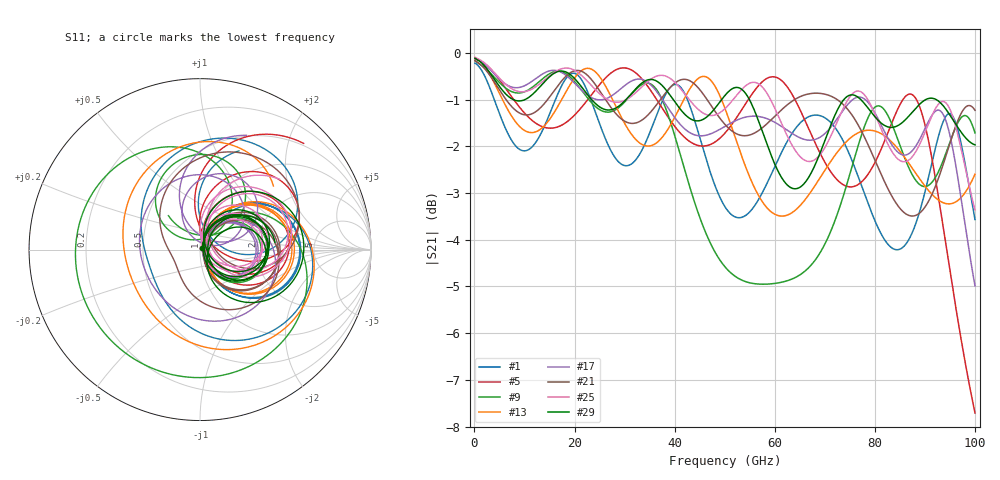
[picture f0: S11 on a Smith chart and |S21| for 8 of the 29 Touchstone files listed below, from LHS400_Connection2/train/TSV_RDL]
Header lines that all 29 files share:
! Touchstone file exported from HFSS 2026.1.0
!  Design:  TSV_RDL
! Variables:
! Terminal data exported
# GHz S MA R 50.000000
Fixed: h_ox = 20um, h_rdl = 5um, h_via = 3um, m_sub = 200um, s_tmrdl = 10um, w_sub = 500um
Also varied, not listed: x_tsv_center2, x_tsv_center3, x_tsv_center4, x_tsv_center5, x_tsv_center6
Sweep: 100 MHz to 100 GHz
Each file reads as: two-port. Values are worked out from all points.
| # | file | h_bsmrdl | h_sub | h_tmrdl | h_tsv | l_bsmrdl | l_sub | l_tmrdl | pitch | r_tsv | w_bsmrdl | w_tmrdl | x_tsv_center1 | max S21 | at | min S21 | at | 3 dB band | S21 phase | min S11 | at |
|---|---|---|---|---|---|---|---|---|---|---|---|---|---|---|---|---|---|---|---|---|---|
| 1 | dut80.s2p | 2.48um | 58.6um | 3.86um | 58.6um | 480.17um | 3022.14um | 274.28um | 43.61um | 10.81um | 11.52um | 16.65um | 282.605um | -0.22 dB | 100 MHz | -4.2 dB | 84.4 GHz | 100 MHz-49.6 GHz | -91 deg at 50.1 GHz | -31.2 dB | 100 MHz |
| 2 | dut83.s2p | 3.81um | 69.76um | 2.26um | 69.76um | 431.84um | 2640.61um | 209.16um | 54.79um | 12.88um | 14.92um | 21.23um | 219.775um | -0.14 dB | 100 MHz | -4.6 dB | 92.7 GHz | 100 MHz-56.8 GHz | -52 deg at 50.1 GHz | -34.5 dB | 100 MHz |
| 3 | dut85.s2p | 2.77um | 76.2um | 4.42um | 76.2um | 248.92um | 2221.24um | 241.8um | 57.46um | 7.69um | 20.96um | 14.8um | 249.2um | -0.10 dB | 100 MHz | -4.7 dB | 90.6 GHz | 100 MHz-83.2 GHz | 23 deg at 50.1 GHz | -36.3 dB | 100 MHz |
| 4 | dut86.s2p | 3.23um | 50.72um | 2.74um | 50.72um | 261.29um | 2346.88um | 262.74um | 52.59um | 14.51um | 25.76um | 11.59um | 268.535um | -0.14 dB | 100 MHz | -11.3 dB | 90.2 GHz | 100 MHz-73.9 GHz | 6 deg at 50.1 GHz | -34.7 dB | 100 MHz |
| 5 | dut87.s2p | 4.18um | 54.66um | 2.43um | 54.66um | 185.52um | 1829.39um | 194.32um | 48.37um | 12.03um | 21.08um | 10.77um | 199.705um | -0.12 dB | 100 MHz | -7.7 dB | 100 GHz | 100 MHz-92.7 GHz | 88 deg at 50.1 GHz | -36.1 dB | 100 MHz |
| 6 | dut88.s2p | 3.11um | 64.45um | 3.46um | 64.45um | 351.19um | 3457.02um | 476.87um | 51.24um | 7.36um | 15.21um | 16.78um | 485.26um | -0.18 dB | 100 MHz | -4.5 dB | 97.8 GHz | 100 MHz-77.9 GHz | -132 deg at 50.1 GHz | -31.8 dB | 100 MHz |
| 7 | dut89.s2p | 2.46um | 97.51um | 2.16um | 97.51um | 649.31um | 2919.57um | 115.37um | 58.26um | 9.34um | 14.28um | 22.44um | 126.59um | -0.21 dB | 100 MHz | -6.3 dB | 52.3 GHz | 100 MHz-43.2 GHz | -113 deg at 50.1 GHz | -31.2 dB | 19 GHz |
| 8 | dut91.s2p | 3.56um | 50.76um | 4.23um | 50.76um | 698.4um | 4432.97um | 444.79um | 47.86um | 9.62um | 27.05um | 25.82um | 457.7um | -0.13 dB | 100 MHz | -6.4 dB | 96.5 GHz | 100 MHz-89.4 GHz | 108 deg at 50.1 GHz | -34.4 dB | 14.5 GHz |
| 9 | dut93.s2p | 2.24um | 78.3um | 4.22um | 78.3um | 685.44um | 3182.24um | 150.58um | 40.83um | 13.89um | 21.26um | 19.94um | 160.55um | -0.16 dB | 100 MHz | -5.0 dB | 57.7 GHz | 100 MHz-43.8 GHz | -151 deg at 50.1 GHz | -35.9 dB | 17.2 GHz |
| 10 | dut95.s2p | 2.54um | 64.01um | 3.62um | 64.01um | 534.81um | 3245.35um | 282.15um | 48.64um | 5.15um | 13.88um | 23.56um | 293.93um | -0.20 dB | 100 MHz | -4.0 dB | 51.6 GHz | 100 MHz-46.8 GHz | -109 deg at 50.1 GHz | -31.4 dB | 100 MHz |
| 11 | dut96.s2p | 4.08um | 99.26um | 2.29um | 99.26um | 369.13um | 2545.4um | 230.08um | 44.96um | 14.34um | 16.42um | 22.81um | 241.485um | -0.12 dB | 100 MHz | -6.7 dB | 96.9 GHz | 100 MHz-71 GHz | -95 deg at 50.1 GHz | -38.0 dB | 18.9 GHz |
| 12 | dut97.s2p | 3.97um | 95.62um | 4.2um | 95.62um | 334.61um | 2389.2um | 210.92um | 56.74um | 9.41um | 28.33um | 18.9um | 220.37um | -0.08 dB | 100 MHz | -3.3 dB | 77.9 GHz | 100 MHz-75.4 GHz | -32 deg at 50.1 GHz | -38.2 dB | 100 MHz |
| 13 | dut98.s2p | 4.67um | 78.77um | 3.32um | 78.77um | 459.85um | 2504.32um | 154.68um | 50.44um | 10.62um | 15.38um | 19.97um | 164.665um | -0.10 dB | 100 MHz | -3.5 dB | 61.4 GHz | 100 MHz-57 GHz | -37 deg at 50.1 GHz | -36.5 dB | 100 MHz |
| 14 | dut99.s2p | 4.08um | 52.72um | 3.05um | 52.72um | 670.19um | 3524.04um | 250.4um | 53.4um | 5.54um | 18.8um | 18.49um | 259.645um | -0.16 dB | 100 MHz | -3.2 dB | 99.4 GHz | 100 MHz-98.7 GHz | -119 deg at 50.1 GHz | -32.7 dB | 100 MHz |
| 15 | dut100.s2p | 3.34um | 67.75um | 4.17um | 67.75um | 680.78um | 3863.95um | 325.68um | 52.32um | 7.97um | 22.11um | 17.52um | 334.44um | -0.15 dB | 100 MHz | -8.3 dB | 100 GHz | 100 MHz-83.7 GHz | 157 deg at 50.1 GHz | -32.7 dB | 100 MHz |
| 16 | dut101.s2p | 4.54um | 56.26um | 4.99um | 56.26um | 450.52um | 3024.39um | 295.67um | 58.53um | 5.69um | 19.36um | 10.69um | 301.015um | -0.13 dB | 100 MHz | -6.4 dB | 73.8 GHz | 100 MHz-65.4 GHz | -67 deg at 50.1 GHz | -33.5 dB | 100 MHz |
| 17 | dut103.s2p | 4.22um | 86.17um | 3.43um | 86.17um | 657.09um | 3535.52um | 248.86um | 45.69um | 11.79um | 26.56um | 29.71um | 263.715um | -0.10 dB | 100 MHz | -5.0 dB | 100 GHz | 100 MHz-97.1 GHz | -177 deg at 50.1 GHz | -37.2 dB | 16.4 GHz |
| 18 | dut105.s2p | 3.09um | 76.05um | 2.28um | 76.05um | 132.64um | 2603.44um | 417.18um | 59.65um | 12.97um | 21.56um | 24.04um | 429.2um | -0.12 dB | 100 MHz | -8.5 dB | 79.6 GHz | 100 MHz-67.4 GHz | -47 deg at 50.1 GHz | -35.9 dB | 21.4 GHz |
| 19 | dut106.s2p | 4.86um | 81.49um | 4.8um | 81.49um | 464.82um | 2450.59um | 138.42um | 48.09um | 13.15um | 16.87um | 17.28um | 147.06um | -0.08 dB | 100 MHz | -4.3 dB | 89.9 GHz | 100 MHz-56.8 GHz | -45 deg at 50.1 GHz | -38.0 dB | 100 MHz |
| 20 | dut108.s2p | 2.72um | 55.15um | 3.94um | 55.15um | 313.71um | 3619.49um | 548.38um | 49.47um | 6.94um | 14.33um | 13.95um | 555.355um | -0.21 dB | 100 MHz | -4.5 dB | 61.9 GHz | 100 MHz-57.3 GHz | -144 deg at 50.1 GHz | -30.8 dB | 100 MHz |
| 21 | dut109.s2p | 2.02um | 99.43um | 2.57um | 99.43um | 156.99um | 2643.78um | 413.36um | 48.12um | 6.96um | 10um | 29.79um | 428.255um | -0.16 dB | 100 MHz | -3.5 dB | 87.5 GHz | 100 MHz-83.9 GHz | -79 deg at 50.1 GHz | -34.2 dB | 20.9 GHz |
| 22 | dut110.s2p | 3.48um | 63.35um | 2.73um | 63.35um | 517.28um | 3558.75um | 371.9um | 41.5um | 6.13um | 20.58um | 19.19um | 381.495um | -0.17 dB | 100 MHz | -3.2 dB | 94.7 GHz | 100 MHz-100 GHz | -151 deg at 50.1 GHz | -32.8 dB | 17.2 GHz |
| 23 | dut111.s2p | 2.13um | 59.66um | 4.13um | 59.66um | 264.18um | 3810.46um | 625.83um | 54.84um | 6.76um | 22.49um | 15.71um | 633.685um | -0.18 dB | 100 MHz | -6.9 dB | 59.2 GHz | 100 MHz-51.8 GHz | 165 deg at 50.1 GHz | -31.3 dB | 100 MHz |
| 24 | dut112.s2p | 2.48um | 65.06um | 2.33um | 65.06um | 457.56um | 3068.21um | 284.23um | 46.81um | 14.01um | 23.17um | 29.7um | 299.08um | -0.14 dB | 100 MHz | -3.9 dB | 100 GHz | 100 MHz-78 GHz | -100 deg at 50.1 GHz | -36.4 dB | 19.3 GHz |
| 25 | dut115.s2p | 3.66um | 78.63um | 3.93um | 78.63um | 255.04um | 2908.98um | 400.46um | 47.98um | 14.26um | 21.21um | 26.13um | 413.525um | -0.09 dB | 100 MHz | -3.4 dB | 100 GHz | 100 MHz-99.3 GHz | -93 deg at 50.1 GHz | -38.4 dB | 18.8 GHz |
| 26 | dut116.s2p | 3.19um | 59.42um | 2.45um | 59.42um | 164.7um | 3769.38um | 689.03um | 49.9um | 7.75um | 14.58um | 25.14um | 701.6um | -0.19 dB | 100 MHz | -2.6 dB | 91.9 GHz | 100 MHz-100 GHz | -176 deg at 50.1 GHz | -32.7 dB | 16.6 GHz |
| 27 | dut117.s2p | 2.37um | 58.83um | 4.76um | 58.83um | 311.04um | 3929.7um | 628.34um | 52.37um | 7.72um | 17.32um | 10.42um | 633.55um | -0.24 dB | 100 MHz | -8.4 dB | 57.2 GHz | 100 MHz-36.9 GHz | 138 deg at 50.1 GHz | -29.6 dB | 100 MHz |
| 28 | dut118.s2p | 4.6um | 72.47um | 3.14um | 72.47um | 376.95um | 2248.09um | 141.66um | 59.33um | 14.64um | 22.06um | 28.14um | 155.73um | -0.06 dB | 100 MHz | -3.5 dB | 100 GHz | 100 MHz-97.4 GHz | 19 deg at 50.1 GHz | -39.5 dB | 100 MHz |
| 29 | dut119.s2p | 4.49um | 65.19um | 4.07um | 65.19um | 239.67um | 3418.83um | 541.04um | 40.88um | 7.91um | 22.15um | 23.07um | 552.575um | -0.11 dB | 100 MHz | -2.9 dB | 64 GHz | 100 MHz-100 GHz | -131 deg at 50.1 GHz | -36.1 dB | 100 MHz |
